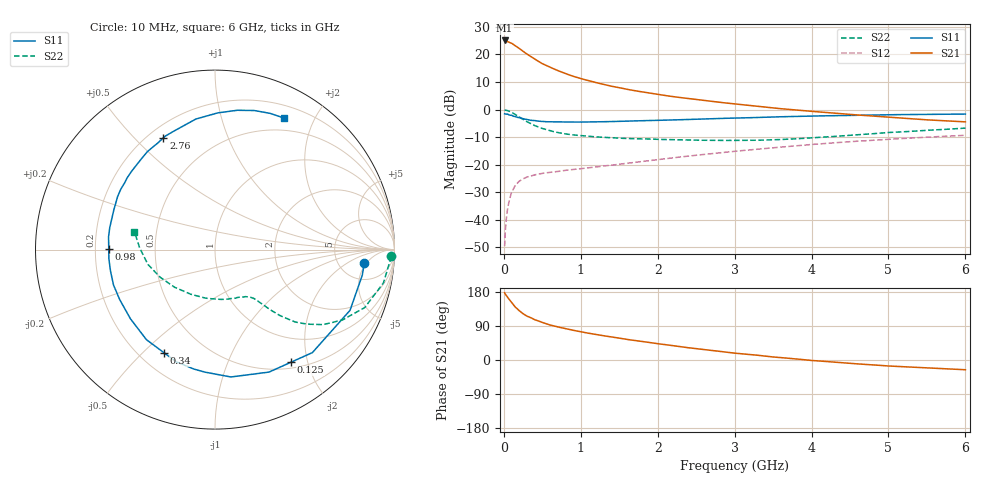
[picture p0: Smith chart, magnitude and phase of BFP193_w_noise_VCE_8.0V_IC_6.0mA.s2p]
! Infineon Technologies  Discrete & RF Semiconductors
! BFP193
! VCE = 8.0 V,  IC =  6.0 mA
! Common Emitter S-Parameters:  Jan 2016
# GHz  S  MA  R  50
!  f  S11  S21  S12  S22
! GHz  MAG  ANG  MAG  ANG  MAG  ANG  MAG  ANG
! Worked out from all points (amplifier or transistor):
!   210 points, 10 MHz to 6 GHz, reference 50 ohm
!   highest |S21| = 25.1 dB at 10 MHz (marker M1)
!   |S21| within 3 dB of that: start of sweep to 205.7 MHz
!   unconditionally stable (mu >= 1): 1.246 GHz to 3.611 GHz
!   at 185 MHz: K = 0.23, MSG = 24.5 dB, |S12| = -26.5 dB
!   at 1.52 GHz: K = 1.07, MAG = 12.2 dB, |S12| = -19.8 dB
!   at 6 GHz: K = 0.88, MSG = 2.4 dB, |S12| = -9.4 dB
!   lowest NFmin = 1.20 dB at 450 MHz
!   S11 on the Smith chart (normalised r, x): 10 MHz: 9, -4; 125 MHz: 0.59, -1.72; 340 MHz: 0.30, -0.58; 980 MHz: 0.26, +0.00; 2.76 GHz: 0.26, +0.61; 6 GHz: 0.34, +1.60
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0.01  0.8355 -5.0  17.97 177.7  0.0033 84.8  0.9836 -2.2
0.02  0.833 -9.8  17.59 173.5  0.0064 86.3  0.9742 -4.5
0.05  0.8249 -24.2  17.15 164.9  0.0161 77.9  0.9567 -11.2
0.1  0.7898 -46.6  16.07 151.7  0.0311 67.1  0.8942 -21.2
0.125  0.7567 -56.1  15.14 145.8  0.0364 62.0  0.8507 -24.9
0.15  0.7459 -66.2  14.39 139.3  0.042 58.3  0.8111 -28.9
0.2  0.7151 -82.9  12.9 130.1  0.0499 52.3  0.7341 -34.7
0.26  0.676 -99.9  11.15 120.8  0.056 46.0  0.6478 -39.6
0.3  0.6613 -109.1  10.17 115.8  0.0593 43.6  0.6015 -42.1
0.34  0.6413 -116.2  9.369 112.5  0.0616 41.5  0.5653 -43.4
0.4  0.6307 -127.3  8.242 106.5  0.0651 38.7  0.5117 -45.6
0.5  0.6087 -140.7  6.807 98.8  0.0694 36.9  0.4535 -47.5
0.6  0.5996 -152.3  5.847 92.4  0.0724 35.9  0.4118 -48.8
0.98  0.5918 179.6  3.721 75.3  0.0837 36.9  0.3381 -52.4
1.02  0.5928 177.3  3.586 73.7  0.0848 37.2  0.3341 -52.9
1.4  0.6051 159.1  2.651 60.8  0.0974 40.0  0.3084 -58.9
2.02  0.6377 136.6  1.865 42.6  0.1243 42.2  0.2866 -72.1
2.76  0.686 114.8  1.376 23.9  0.1613 41.2  0.2748 -93.2
3.1  0.7045 106.7  1.219 16.3  0.1798 39.5  0.2749 -104.7
4.1  0.7656 87.2  0.904 -2.6  0.2374 32.1  0.3123 -140.4
5.1  0.8073 72.9  0.71 -16.8  0.2934 22.0  0.3884 -170.5
6  0.8274 62.3  0.597 -25.7  0.3404 12.0  0.46 167.4
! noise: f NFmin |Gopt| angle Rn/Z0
0.45  1.2  0.25  114  0.13
0.9  1.25  0.37  150  0.12
1.8  2  0.55  -158  0.12
